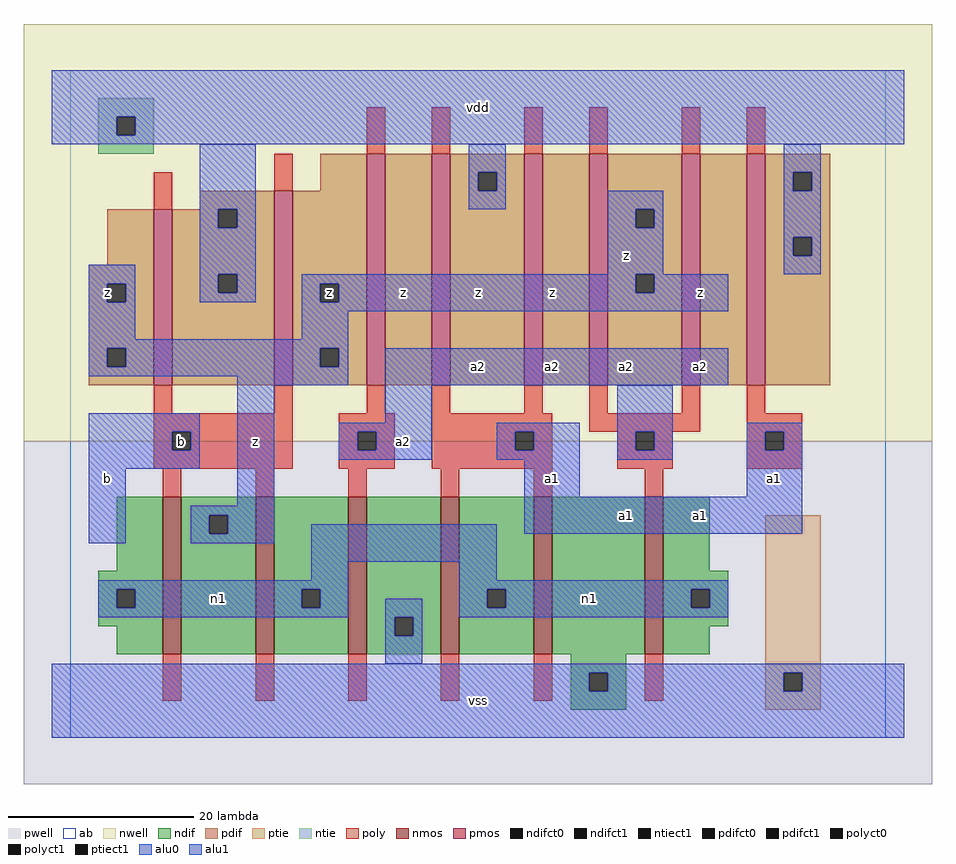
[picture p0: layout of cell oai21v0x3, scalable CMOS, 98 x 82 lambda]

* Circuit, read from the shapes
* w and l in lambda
.subckt oai21v0x3 a1 a2 b n1 vdd vss z
M1 z b n1 vss nfet w=17 l=2 m=2
M2 vss a2 n1 vss nfet w=17 l=2 m=2
M3 n1 a1 vss vss nfet w=17 l=2 m=2
M4 vdd b z vdd pfet w=19 l=2
M5 z b vdd vdd pfet w=21 l=2
M6 n2 a2 z vdd pfet w=25 l=2
M7 vdd a1 n2 vdd pfet w=25 l=2
M8 n3 a1 vdd vdd pfet w=25 l=2
M9 z a2 n3 vdd pfet w=25 l=2
M10 n4 a2 z vdd pfet w=25 l=2
M11 vdd a1 n4 vdd pfet w=25 l=2
.ends

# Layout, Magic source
magic
tech scmos
<< ab >>
rect 0 0 88 72
<< nwell >>
rect -5 32 93 77
<< pwell >>
rect -5 -5 93 32
<< poly >>
rect 32 63 34 68
rect 39 63 41 68
rect 49 63 51 68
rect 56 63 58 68
rect 66 63 68 68
rect 73 63 75 68
rect 9 57 11 61
rect 22 59 24 63
rect 9 35 11 38
rect 22 35 24 38
rect 32 35 34 38
rect 39 35 41 38
rect 49 35 51 38
rect 56 35 58 38
rect 66 35 68 38
rect 9 33 24 35
rect 9 31 11 33
rect 13 31 24 33
rect 9 29 24 31
rect 29 33 35 35
rect 29 31 31 33
rect 33 31 35 33
rect 29 29 35 31
rect 39 33 52 35
rect 56 33 68 35
rect 73 35 75 38
rect 73 33 79 35
rect 39 31 48 33
rect 50 31 52 33
rect 39 29 52 31
rect 59 31 61 33
rect 63 31 65 33
rect 59 29 65 31
rect 73 31 75 33
rect 77 31 79 33
rect 73 29 79 31
rect 10 26 12 29
rect 20 26 22 29
rect 30 26 32 29
rect 40 26 42 29
rect 50 26 52 29
rect 62 26 64 29
rect 10 4 12 9
rect 20 4 22 9
rect 30 4 32 9
rect 40 4 42 9
rect 50 4 52 9
rect 62 4 64 9
<< ndif >>
rect 5 18 10 26
rect 3 16 10 18
rect 3 14 5 16
rect 7 14 10 16
rect 3 12 10 14
rect 5 9 10 12
rect 12 24 20 26
rect 12 22 15 24
rect 17 22 20 24
rect 12 9 20 22
rect 22 16 30 26
rect 22 14 25 16
rect 27 14 30 16
rect 22 9 30 14
rect 32 13 40 26
rect 32 11 35 13
rect 37 11 40 13
rect 32 9 40 11
rect 42 16 50 26
rect 42 14 45 16
rect 47 14 50 16
rect 42 9 50 14
rect 52 9 62 26
rect 64 18 69 26
rect 64 16 71 18
rect 64 14 67 16
rect 69 14 71 16
rect 64 12 71 14
rect 64 9 69 12
rect 54 7 60 9
rect 54 5 56 7
rect 58 5 60 7
rect 54 3 60 5
<< pdif >>
rect 27 59 32 63
rect 14 57 22 59
rect 4 51 9 57
rect 2 49 9 51
rect 2 47 4 49
rect 6 47 9 49
rect 2 42 9 47
rect 2 40 4 42
rect 6 40 9 42
rect 2 38 9 40
rect 11 55 16 57
rect 18 55 22 57
rect 11 50 22 55
rect 11 48 16 50
rect 18 48 22 50
rect 11 38 22 48
rect 24 49 32 59
rect 24 47 27 49
rect 29 47 32 49
rect 24 42 32 47
rect 24 40 27 42
rect 29 40 32 42
rect 24 38 32 40
rect 34 38 39 63
rect 41 61 49 63
rect 41 59 44 61
rect 46 59 49 61
rect 41 38 49 59
rect 51 38 56 63
rect 58 57 66 63
rect 58 55 61 57
rect 63 55 66 57
rect 58 50 66 55
rect 58 48 61 50
rect 63 48 66 50
rect 58 38 66 48
rect 68 38 73 63
rect 75 61 82 63
rect 75 59 78 61
rect 80 59 82 61
rect 75 54 82 59
rect 75 52 78 54
rect 80 52 82 54
rect 75 38 82 52
<< alu1 >>
rect -2 67 90 72
rect -2 65 5 67
rect 7 65 90 67
rect -2 64 90 65
rect 58 57 64 59
rect 2 49 7 51
rect 2 47 4 49
rect 6 47 7 49
rect 58 55 61 57
rect 63 55 64 57
rect 58 50 64 55
rect 25 49 61 50
rect 25 47 27 49
rect 29 48 61 49
rect 63 48 71 50
rect 29 47 71 48
rect 2 43 7 47
rect 25 46 71 47
rect 25 43 30 46
rect 2 42 30 43
rect 2 40 4 42
rect 6 40 27 42
rect 29 40 30 42
rect 2 39 30 40
rect 18 38 30 39
rect 34 38 71 42
rect 2 33 14 35
rect 2 31 11 33
rect 13 31 14 33
rect 2 29 14 31
rect 2 21 6 29
rect 18 25 22 38
rect 34 34 39 38
rect 29 33 39 34
rect 29 31 31 33
rect 33 31 39 33
rect 29 30 39 31
rect 46 33 55 34
rect 46 31 48 33
rect 50 31 55 33
rect 46 30 55 31
rect 73 33 79 34
rect 73 31 75 33
rect 77 31 79 33
rect 13 24 22 25
rect 13 22 15 24
rect 17 22 22 24
rect 49 26 55 30
rect 73 26 79 31
rect 13 21 22 22
rect 49 22 79 26
rect -2 7 90 8
rect -2 5 56 7
rect 58 5 77 7
rect 79 5 90 7
rect -2 0 90 5
<< ptie >>
rect 75 7 81 24
rect 75 5 77 7
rect 79 5 81 7
rect 75 3 81 5
<< ntie >>
rect 3 67 9 69
rect 3 65 5 67
rect 7 65 9 67
rect 3 63 9 65
<< nmos >>
rect 10 9 12 26
rect 20 9 22 26
rect 30 9 32 26
rect 40 9 42 26
rect 50 9 52 26
rect 62 9 64 26
<< pmos >>
rect 9 38 11 57
rect 22 38 24 59
rect 32 38 34 63
rect 39 38 41 63
rect 49 38 51 63
rect 56 38 58 63
rect 66 38 68 63
rect 73 38 75 63
<< polyct0 >>
rect 61 31 63 33
<< polyct1 >>
rect 11 31 13 33
rect 31 31 33 33
rect 48 31 50 33
rect 75 31 77 33
<< ndifct0 >>
rect 5 14 7 16
rect 25 14 27 16
rect 35 11 37 13
rect 45 14 47 16
rect 67 14 69 16
<< ndifct1 >>
rect 15 22 17 24
rect 56 5 58 7
<< ntiect1 >>
rect 5 65 7 67
<< ptiect1 >>
rect 77 5 79 7
<< pdifct0 >>
rect 16 55 18 57
rect 16 48 18 50
rect 44 59 46 61
rect 78 59 80 61
rect 78 52 80 54
<< pdifct1 >>
rect 4 47 6 49
rect 4 40 6 42
rect 27 47 29 49
rect 27 40 29 42
rect 61 55 63 57
rect 61 48 63 50
<< alu0 >>
rect 14 57 20 64
rect 43 61 47 64
rect 43 59 44 61
rect 46 59 47 61
rect 77 61 81 64
rect 77 59 78 61
rect 80 59 81 61
rect 43 57 47 59
rect 14 55 16 57
rect 18 55 20 57
rect 14 50 20 55
rect 77 54 81 59
rect 77 52 78 54
rect 80 52 81 54
rect 77 50 81 52
rect 14 48 16 50
rect 18 48 20 50
rect 14 47 20 48
rect 59 33 65 38
rect 59 31 61 33
rect 63 31 65 33
rect 59 30 65 31
rect 26 19 46 23
rect 26 17 30 19
rect 3 16 30 17
rect 3 14 5 16
rect 7 14 25 16
rect 27 14 30 16
rect 42 17 46 19
rect 42 16 71 17
rect 3 13 30 14
rect 34 13 38 15
rect 42 14 45 16
rect 47 14 67 16
rect 69 14 71 16
rect 42 13 71 14
rect 34 11 35 13
rect 37 11 38 13
rect 34 8 38 11
<< labels >>
rlabel alu0 16 15 16 15 6 n1
rlabel alu0 56 15 56 15 6 n1
rlabel alu1 4 28 4 28 6 b
rlabel polyct1 12 32 12 32 6 b
rlabel alu1 4 48 4 48 6 z
rlabel alu1 20 32 20 32 6 z
rlabel alu1 36 32 36 32 6 a2
rlabel alu1 36 48 36 48 6 z
rlabel pdifct1 28 48 28 48 6 z
rlabel alu1 44 4 44 4 6 vss
rlabel alu1 52 28 52 28 6 a1
rlabel alu1 60 24 60 24 6 a1
rlabel alu1 52 40 52 40 6 a2
rlabel alu1 60 40 60 40 6 a2
rlabel alu1 44 40 44 40 6 a2
rlabel alu1 44 48 44 48 6 z
rlabel alu1 60 52 60 52 6 z
rlabel alu1 52 48 52 48 6 z
rlabel alu1 44 68 44 68 6 vdd
rlabel alu1 68 24 68 24 6 a1
rlabel alu1 76 28 76 28 6 a1
rlabel alu1 68 40 68 40 6 a2
rlabel alu1 68 48 68 48 6 z
<< end >>
